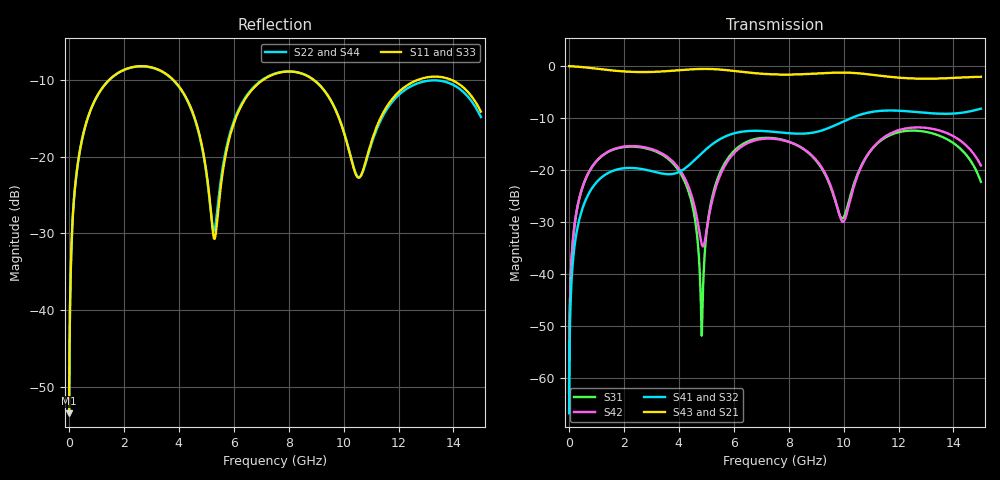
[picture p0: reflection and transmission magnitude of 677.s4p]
! Created with skrf 1.8.0 (http://scikit-rf.org).
# GHz S RI R 50.0
!freq ReS11 ImS11 ReS12 ImS12 ReS13 ImS13
! ReS14 ImS14
! ReS21 ImS21 ReS22 ImS22 ReS23 ImS23
! ReS24 ImS24
! ReS31 ImS31 ReS32 ImS32 ReS33 ImS33
! ReS34 ImS34
! ReS41 ImS41 ReS42 ImS42 ReS43 ImS43
! ReS44 ImS44
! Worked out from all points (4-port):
!   2499 points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, 5 MHz to 15 GHz, reference 50 ohm
!   strongest paths, dB at 5 MHz, 3.476 GHz, 7.19 GHz, 11.1 GHz, 15 GHz:
!     S43: 0.0, -1.0, -1.5, -1.7, -2.1
!     S21: 0.0, -1.0, -1.5, -1.7, -2.1
!     S41: -66.8, -20.8, -12.5, -8.8, -8.2
!     S32: -66.8, -20.8, -12.5, -8.7, -8.2
!     S42: -62.7, -17.1, -14.0, -15.5, -19.1
!     S31: -62.7, -17.3, -13.8, -15.6, -22.3
!   lowest |S11| = -53.5 dB at 5 MHz (marker M1), VSWR 1.00, Z = 50.2 + j0.128 ohm
!   |S11| at or under -10 dB: start of sweep to 1.466 GHz; 3.797 GHz to 7.068 GHz (3.27 GHz wide, 60.2 % of centre); 8.911 GHz to 12.7 GHz (3.792 GHz wide, 35.1 % of centre) (the widest 3 of 4)
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0.005  0.00169 0.00128  0.9983 -0.0033  8.72e-05 0.000728  -8.44e-05 -0.000448
       0.9983 -0.0033  0.00169 0.00128  -8.44e-05 -0.000448  8.72e-05 0.000728
       8.72e-05 0.000728  -8.44e-05 -0.000448  0.00169 0.00128  0.9983 -0.0033
       -8.44e-05 -0.000448  8.72e-05 0.000728  0.9983 -0.0033  0.00169 0.00128
0.3126303  0.0255 0.0839  0.9652 -0.2048  0.0124 0.0431  -0.0104 -0.0261
           0.9652 -0.2048  0.0254 0.0839  -0.0104 -0.0261  0.0127 0.043
           0.0124 0.0431  -0.0104 -0.0261  0.0255 0.0839  0.9652 -0.2048
           -0.0104 -0.0261  0.0127 0.043  0.9652 -0.2048  0.0254 0.0839
1.569404  0.2818 0.1691  0.5201 -0.7446  0.141 0.0655  -0.0975 -0.000721
          0.5201 -0.7446  0.2807 0.1699  -0.0974 -0.000834  0.1444 0.0606
          0.141 0.0655  -0.0974 -0.000834  0.2819 0.1691  0.5201 -0.7446
          -0.0975 -0.000721  0.1444 0.0606  0.5201 -0.7446  0.2806 0.17
4.839516  0.0552 -0.1046  -0.879 -0.3309  0.00239 0.00114  -0.0461 0.1381
          -0.879 -0.3309  0.0581 -0.0998  -0.0478 0.1375  -0.0175 -0.00776
          0.00239 0.00114  -0.0478 0.1375  0.0534 -0.1056  -0.8789 -0.331
          -0.0461 0.1381  -0.0175 -0.00776  -0.8789 -0.331  0.0602 -0.0994
8.240934  0.3534 -0.0428  0.00378 0.8301  0.154 -0.0861  0.2123 -0.0715
          0.00378 0.8301  0.354 -0.0421  0.2127 -0.0677  0.1534 -0.0875
          0.154 -0.0861  0.2127 -0.0677  0.3532 -0.0416  0.00377 0.8304
          0.2123 -0.0715  0.1534 -0.0875  0.00377 0.8304  0.3527 -0.0433
10.93581  0.0961 0.0579  0.8307 -0.0298  0.0432 0.1412  -0.0396 -0.3563
          0.8307 -0.0298  0.0942 0.0548  -0.0315 -0.3578  0.0549 0.137
          0.0432 0.1412  -0.0315 -0.3578  0.0901 0.059  0.8308 -0.0295
          -0.0396 -0.3563  0.0549 0.137  0.8308 -0.0295  0.0997 0.052
15  0.1416 -0.1361  -0.5154 -0.5961  0.0132 -0.0758  -0.2714 0.2788
    -0.5154 -0.5961  0.1454 -0.108  -0.28 0.2699  0.000845 -0.1107
    0.0132 -0.0758  -0.28 0.2699  0.1401 -0.134  -0.5165 -0.5958
    -0.2714 0.2788  0.000845 -0.1107  -0.5165 -0.5958  0.143 -0.1072
